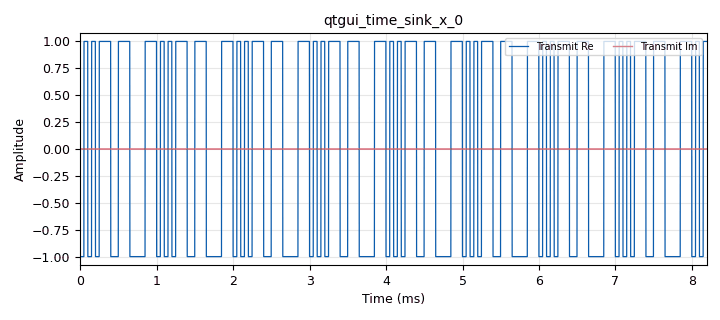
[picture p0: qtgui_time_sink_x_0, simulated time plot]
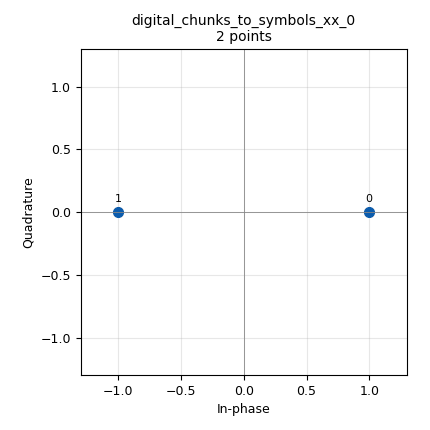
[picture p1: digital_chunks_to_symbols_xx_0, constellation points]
options:
  parameters:
    author: jason
    generate_options: qt_gui
    id: lesson12_PSK_Pluto_to_RTL_SDR
    output_language: python
    title: lesson12_PSK_Pluto_to_RTL_SDR
  states: {}

blocks:
- name: center_freq
  id: variable
  parameters:
    value: '915000000'
  states: {}
- name: offset
  id: variable_qtgui_range
  parameters:
    start: '-20e3'
    step: '1'
    stop: 20e3
    value: '0'
  states: {state: disabled}
- name: rx_gain
  id: variable_qtgui_range
  parameters:
    start: '0'
    step: '1'
    stop: '70'
    value: '10'
  states: {}
- name: samp_rate
  id: variable
  parameters:
    value: '1000000'
  states: {}
- name: sps
  id: variable
  parameters:
    value: '50'
  states: {}
- name: tx_attenuation
  id: variable_qtgui_range
  parameters:
    start: '0'
    step: '1'
    stop: '89'
    value: '10'
  states: {}
- name: analog_random_uniform_source_x_0
  id: analog_random_uniform_source_x
  parameters:
    maximum: '2'
    minimum: '0'
    seed: '0'
    type: byte
  states: {state: disabled}
- name: analog_sig_source_x_0
  id: analog_sig_source_x
  parameters:
    amp: '1'
    freq: offset
    offset: '0'
    phase: '0'
    samp_rate: samp_rate
    type: complex
    waveform: analog.GR_COS_WAVE
  states: {state: disabled}
- name: blocks_multiply_xx_0
  id: blocks_multiply_xx
  parameters:
    type: complex
  states: {state: disabled}
- name: blocks_repeat_0
  id: blocks_repeat
  parameters:
    interp: sps
    type: complex
  states: {}
- name: blocks_vector_source_x_0_0
  id: blocks_vector_source_x
  parameters:
    repeat: 'True'
    type: byte
    vector: '[0,1,0,1,0,0,0,1,1,0,0,0,1,1,1,1, 0, 0, 0, 1]'
  states: {}
- name: digital_chunks_to_symbols_xx_0
  id: digital_chunks_to_symbols_xx
  parameters:
    dimension: '1'
    in_type: byte
    out_type: complex
    symbol_table: '[+1, -1]'
  states: {}
- name: digital_costas_loop_cc_0
  id: digital_costas_loop_cc
  parameters:
    comment: |-
      Loop Bandwidth:
      2*3.14/100
    order: '2'
    w: 2*3.14/100
  states: {state: disabled}
- name: iio_pluto_sink_0
  id: iio_pluto_sink
  parameters:
    attenuation1: tx_attenuation
    bandwidth: samp_rate
    buffer_size: '32768'
    cyclic: 'False'
    filter_source: '''Auto'''
    frequency: int(center_freq)
    samplerate: samp_rate
    type: fc32
    uri: 192.168.2.1
  states: {}
- name: iio_pluto_source_0
  id: iio_pluto_source
  parameters:
    bandwidth: '20000000'
    bbdc: 'True'
    buffer_size: '32768'
    filter_source: '''Auto'''
    frequency: center_freq
    gain1: '''manual'''
    manual_gain1: rx_gain
    quadrature: 'True'
    rfdc: 'True'
    samplerate: samp_rate
    type: fc32
    uri: 192.168.2.1
  states: {}
- name: qtgui_const_sink_x_0
  id: qtgui_const_sink_x
  parameters:
    label1: Receive Raw
    size: '1024'
    type: complex
    xmax: '1'
    xmin: '-1'
    ymax: '1'
    ymin: '-1'
  states: {}
- name: qtgui_const_sink_x_0_0
  id: qtgui_const_sink_x
  parameters:
    label1: Receive Offset
    size: '1024'
    type: complex
    xmax: '1'
    xmin: '-1'
    ymax: '1'
    ymin: '-1'
  states: {state: disabled}
- name: qtgui_const_sink_x_0_0_0
  id: qtgui_const_sink_x
  parameters:
    label1: Receive Costas
    size: '1024'
    type: complex
    xmax: '1'
    xmin: '-1'
    ymax: '1'
    ymin: '-1'
  states: {state: disabled}
- name: qtgui_freq_sink_x_0
  id: qtgui_freq_sink_x
  parameters:
    bw: samp_rate
    fc: '0'
    fftsize: '1024'
    label1: Transmit
    type: complex
  states: {state: disabled}
- name: qtgui_freq_sink_x_0_0
  id: qtgui_freq_sink_x
  parameters:
    bw: samp_rate
    fc: '0'
    fftsize: 1024*8
    label1: Receive Raw
    type: complex
  states: {}
- name: qtgui_freq_sink_x_0_0_0
  id: qtgui_freq_sink_x
  parameters:
    bw: samp_rate
    fc: '0'
    fftsize: 1024*8
    label1: Receive Offset
    type: complex
  states: {state: disabled}
- name: qtgui_time_sink_x_0
  id: qtgui_time_sink_x
  parameters:
    label1: Transmit Re
    label2: Transmit Im
    size: 1024*8
    srate: samp_rate
    type: complex
  states: {}
- name: qtgui_time_sink_x_0_0
  id: qtgui_time_sink_x
  parameters:
    label1: Receive Raw Re
    label2: Receive Raw Im
    size: 1024*8
    srate: samp_rate
    type: complex
  states: {}
- name: qtgui_time_sink_x_0_0_0
  id: qtgui_time_sink_x
  parameters:
    label1: Receive Offset Re
    label2: Receive Offset Im
    size: 1024*8
    srate: samp_rate
    type: complex
  states: {state: disabled}
- name: qtgui_time_sink_x_0_0_0_0
  id: qtgui_time_sink_x
  parameters:
    label1: Receive Costas Re
    label2: Receive Costas Im
    size: 1024*8
    srate: samp_rate
    type: complex
  states: {state: disabled}

connections:
- [analog_random_uniform_source_x_0, '0', digital_chunks_to_symbols_xx_0, '0']
- [analog_sig_source_x_0, '0', blocks_multiply_xx_0, '1']
- [blocks_multiply_xx_0, '0', digital_costas_loop_cc_0, '0']
- [blocks_multiply_xx_0, '0', qtgui_const_sink_x_0_0, '0']
- [blocks_multiply_xx_0, '0', qtgui_freq_sink_x_0_0_0, '0']
- [blocks_multiply_xx_0, '0', qtgui_time_sink_x_0_0_0, '0']
- [blocks_repeat_0, '0', iio_pluto_sink_0, '0']
- [blocks_repeat_0, '0', qtgui_freq_sink_x_0, '0']
- [blocks_repeat_0, '0', qtgui_time_sink_x_0, '0']
- [blocks_vector_source_x_0_0, '0', digital_chunks_to_symbols_xx_0, '0']
- [digital_chunks_to_symbols_xx_0, '0', blocks_repeat_0, '0']
- [digital_costas_loop_cc_0, '0', qtgui_const_sink_x_0_0_0, '0']
- [digital_costas_loop_cc_0, '0', qtgui_time_sink_x_0_0_0_0, '0']
- [iio_pluto_source_0, '0', blocks_multiply_xx_0, '0']
- [iio_pluto_source_0, '0', qtgui_const_sink_x_0, '0']
- [iio_pluto_source_0, '0', qtgui_freq_sink_x_0_0, '0']
- [iio_pluto_source_0, '0', qtgui_time_sink_x_0_0, '0']

metadata:
  file_format: 1
  grc_version: 3.10.9.2
